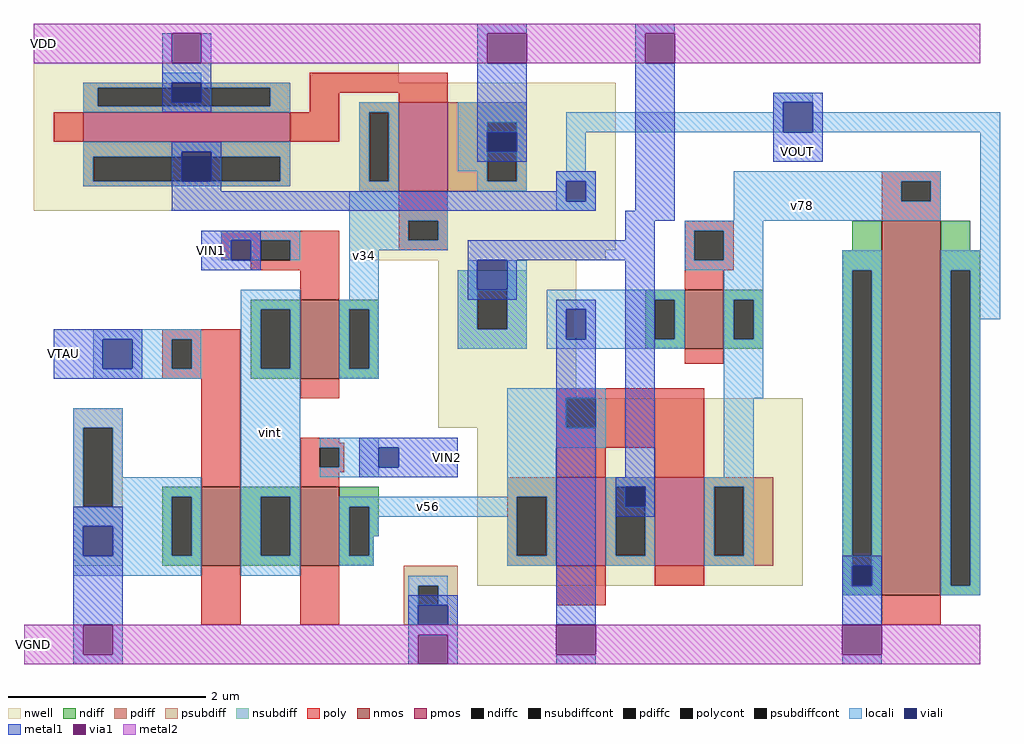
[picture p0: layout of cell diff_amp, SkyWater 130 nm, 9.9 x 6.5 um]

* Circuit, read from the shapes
.subckt diff_amp VTAU VGND VDD VIN2 VIN1 VOUT
XM1 vint VTAU VGND VGND sky130_fd_pr__nfet_01v8 w=0.8 l=0.4
XM2 v56 VIN2 vint VGND sky130_fd_pr__nfet_01v8 w=0.8 l=0.4
XM3 v34 VIN1 vint VGND sky130_fd_pr__nfet_01v8 w=0.8 l=0.4
XM4 v78 v78 VGND VGND sky130_fd_pr__nfet_01v8 w=0.6 l=0.4
XM5 VOUT v78 VGND VGND sky130_fd_pr__nfet_01v8 w=3.8 l=0.6
XM6 VDD v34 VOUT VDD sky130_fd_pr__pfet_01v8 w=2.1 l=0.3
XM7 VDD v34 v34 VDD sky130_fd_pr__pfet_01v8 w=0.9 l=0.5
XM8 VDD v56 v56 VDD sky130_fd_pr__pfet_01v8 w=0.9 l=0.5
XM9 v78 v56 VDD VDD sky130_fd_pr__pfet_01v8 w=0.9 l=0.5
.ends

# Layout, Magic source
magic
tech sky130A
<< nwell >>
rect 10 590 380 610
rect 10 460 600 590
rect 330 420 600 460
rect 330 410 590 420
rect 420 270 560 410
rect 420 240 790 270
rect 460 80 790 240
<< nmos >>
rect 280 290 320 370
rect 670 320 710 380
rect 180 100 220 180
rect 280 100 320 180
rect 870 70 930 450
<< pmos >>
rect 60 530 270 560
rect 380 480 430 570
rect 540 100 590 190
rect 640 100 690 190
<< ndiff >>
rect 840 420 870 450
rect 830 400 870 420
rect 230 360 280 370
rect 230 300 240 360
rect 270 300 280 360
rect 230 290 280 300
rect 320 360 360 370
rect 320 300 330 360
rect 350 300 360 360
rect 630 370 670 380
rect 630 330 640 370
rect 660 330 670 370
rect 630 320 670 330
rect 710 370 750 380
rect 710 330 720 370
rect 740 330 750 370
rect 710 320 750 330
rect 320 290 360 300
rect 140 170 180 180
rect 140 110 150 170
rect 170 110 180 170
rect 140 100 180 110
rect 220 170 280 180
rect 220 110 240 170
rect 270 110 280 170
rect 220 100 280 110
rect 320 160 360 180
rect 320 110 330 160
rect 350 130 360 160
rect 350 110 355 130
rect 320 100 355 110
rect 830 80 840 400
rect 860 80 870 400
rect 830 70 870 80
rect 930 420 960 450
rect 930 400 970 420
rect 930 80 940 400
rect 960 80 970 400
rect 930 70 970 80
<< pdiff >>
rect 60 585 270 590
rect 60 566 75 585
rect 250 566 270 585
rect 60 560 270 566
rect 340 560 380 570
rect 60 515 270 530
rect 60 490 70 515
rect 260 490 270 515
rect 60 485 270 490
rect 340 490 350 560
rect 370 490 380 560
rect 340 480 380 490
rect 430 550 510 570
rect 430 490 470 550
rect 500 490 510 550
rect 430 480 510 490
rect 490 170 540 190
rect 490 110 500 170
rect 530 110 540 170
rect 490 100 540 110
rect 590 180 640 190
rect 590 110 600 180
rect 630 110 640 180
rect 590 100 640 110
rect 690 180 760 190
rect 690 110 700 180
rect 730 110 760 180
rect 690 100 760 110
<< ndiffc >>
rect 240 300 270 360
rect 330 300 350 360
rect 640 330 660 370
rect 720 330 740 370
rect 150 110 170 170
rect 240 110 270 170
rect 330 110 350 160
rect 840 80 860 400
rect 940 80 960 400
<< pdiffc >>
rect 75 566 250 585
rect 70 490 260 515
rect 350 490 370 560
rect 470 490 500 550
rect 500 110 530 170
rect 600 110 630 180
rect 700 110 730 180
<< psubdiff >>
rect 50 240 100 260
rect 50 160 60 240
rect 90 160 100 240
rect 50 100 100 160
rect 385 80 440 100
rect 385 60 400 80
rect 420 60 440 80
rect 385 40 440 60
<< nsubdiff >>
rect 440 380 510 400
rect 440 340 460 380
rect 490 340 510 380
rect 440 320 510 340
<< psubdiffcont >>
rect 60 160 90 240
rect 400 60 420 80
<< nsubdiffcont >>
rect 460 340 490 380
<< poly >>
rect 290 580 430 600
rect 290 560 320 580
rect 380 570 430 580
rect 30 530 60 560
rect 270 530 320 560
rect 870 490 930 500
rect 380 450 430 480
rect 870 470 890 490
rect 920 470 930 490
rect 870 450 930 470
rect 200 430 320 440
rect 200 410 240 430
rect 270 410 320 430
rect 380 430 390 450
rect 420 430 430 450
rect 380 420 430 430
rect 670 440 720 450
rect 230 400 320 410
rect 670 410 680 440
rect 710 410 720 440
rect 670 400 720 410
rect 280 370 320 400
rect 670 380 710 400
rect 140 330 220 340
rect 140 300 150 330
rect 170 300 220 330
rect 140 290 220 300
rect 670 305 710 320
rect 180 180 220 290
rect 280 270 320 290
rect 540 270 690 280
rect 540 240 550 270
rect 580 240 690 270
rect 280 225 320 230
rect 280 220 325 225
rect 280 200 300 220
rect 320 200 325 220
rect 280 195 325 200
rect 540 220 690 240
rect 280 180 320 195
rect 540 190 590 220
rect 640 190 690 220
rect 180 40 220 100
rect 280 40 320 100
rect 540 60 590 100
rect 640 80 690 100
rect 870 40 930 70
<< polycont >>
rect 890 470 920 490
rect 240 410 270 430
rect 390 430 420 450
rect 680 410 710 440
rect 150 300 170 330
rect 550 240 580 270
rect 300 200 320 220
<< locali >>
rect 140 590 180 600
rect 60 585 150 590
rect 180 585 270 590
rect 60 566 75 585
rect 250 566 270 585
rect 760 570 800 580
rect 60 560 270 566
rect 340 560 380 570
rect 60 520 270 530
rect 60 515 160 520
rect 190 515 270 520
rect 60 490 70 515
rect 260 490 270 515
rect 60 485 270 490
rect 340 490 350 560
rect 370 490 380 560
rect 440 550 510 570
rect 760 560 770 570
rect 440 500 470 550
rect 340 480 380 490
rect 460 490 470 500
rect 500 490 510 550
rect 550 540 770 560
rect 800 540 990 560
rect 550 500 570 540
rect 460 480 510 490
rect 540 490 580 500
rect 330 450 430 480
rect 540 470 550 490
rect 570 470 580 490
rect 540 460 580 470
rect 720 490 930 500
rect 720 470 890 490
rect 920 470 930 490
rect 720 450 930 470
rect 200 430 280 440
rect 200 410 210 430
rect 230 410 240 430
rect 270 410 280 430
rect 330 430 390 450
rect 420 430 430 450
rect 330 420 430 430
rect 670 440 750 450
rect 220 360 280 380
rect 330 370 360 420
rect 670 410 680 440
rect 710 410 750 440
rect 970 420 990 540
rect 450 400 460 410
rect 70 330 180 340
rect 70 300 80 330
rect 110 300 150 330
rect 170 300 180 330
rect 70 290 180 300
rect 220 300 240 360
rect 270 300 280 360
rect 50 240 100 260
rect 50 160 60 240
rect 90 190 100 240
rect 90 170 180 190
rect 90 160 150 170
rect 50 140 150 160
rect 50 110 60 140
rect 90 110 150 140
rect 170 110 180 170
rect 50 90 180 110
rect 220 170 280 300
rect 320 360 360 370
rect 320 300 330 360
rect 350 300 360 360
rect 440 340 460 400
rect 490 340 510 410
rect 670 400 750 410
rect 440 320 510 340
rect 530 370 670 380
rect 530 360 640 370
rect 530 330 550 360
rect 570 330 640 360
rect 660 330 670 370
rect 530 320 670 330
rect 710 370 750 400
rect 710 330 720 370
rect 740 330 750 370
rect 320 290 360 300
rect 490 270 590 280
rect 490 240 550 270
rect 580 240 590 270
rect 300 220 360 230
rect 490 220 590 240
rect 710 270 750 330
rect 830 400 870 420
rect 320 200 360 220
rect 300 190 360 200
rect 490 170 540 220
rect 710 190 740 270
rect 220 110 240 170
rect 270 110 280 170
rect 220 90 280 110
rect 320 160 500 170
rect 320 110 330 160
rect 350 150 500 160
rect 350 130 360 150
rect 350 110 355 130
rect 320 100 355 110
rect 490 110 500 150
rect 530 110 540 170
rect 490 100 540 110
rect 590 180 640 190
rect 590 110 600 180
rect 630 110 640 180
rect 590 100 640 110
rect 690 180 740 190
rect 690 110 700 180
rect 730 110 740 180
rect 690 100 740 110
rect 390 80 430 90
rect 390 40 400 80
rect 420 60 430 80
rect 830 80 840 400
rect 860 80 870 400
rect 830 70 870 80
rect 930 400 990 420
rect 930 80 940 400
rect 960 350 990 400
rect 960 80 970 350
rect 930 70 970 80
<< viali >>
rect 150 585 180 590
rect 150 570 180 585
rect 160 515 190 520
rect 160 490 190 515
rect 470 520 500 540
rect 770 540 800 570
rect 550 470 570 490
rect 210 410 230 430
rect 80 300 110 330
rect 60 110 90 140
rect 460 380 490 410
rect 550 330 570 360
rect 360 200 380 220
rect 610 160 630 180
rect 840 80 860 100
rect 400 40 430 60
<< metal1 >>
rect 460 640 510 650
rect 140 610 150 640
rect 180 610 190 640
rect 140 590 190 610
rect 140 570 150 590
rect 180 570 190 590
rect 140 560 190 570
rect 460 610 470 640
rect 460 540 510 610
rect 150 520 200 530
rect 150 490 160 520
rect 190 490 200 520
rect 460 520 470 540
rect 500 520 510 540
rect 460 510 510 520
rect 620 640 660 650
rect 620 610 630 640
rect 150 480 200 490
rect 540 490 580 500
rect 540 480 550 490
rect 150 470 550 480
rect 570 470 580 490
rect 150 460 580 470
rect 620 460 660 610
rect 760 570 810 580
rect 760 540 770 570
rect 800 540 810 570
rect 760 510 810 540
rect 610 450 660 460
rect 180 430 240 440
rect 610 430 640 450
rect 180 410 210 430
rect 230 410 240 430
rect 180 400 240 410
rect 450 410 640 430
rect 450 380 460 410
rect 490 380 500 410
rect 450 370 500 380
rect 540 360 580 370
rect 30 330 120 340
rect 30 300 80 330
rect 110 300 120 330
rect 30 290 120 300
rect 540 330 550 360
rect 570 330 580 360
rect 340 220 440 230
rect 340 200 360 220
rect 380 200 440 220
rect 340 190 440 200
rect 50 140 100 160
rect 50 110 60 140
rect 90 110 100 140
rect 50 40 100 110
rect 50 10 60 40
rect 90 10 100 40
rect 50 0 100 10
rect 390 60 440 70
rect 390 40 400 60
rect 430 40 440 60
rect 390 30 440 40
rect 390 0 400 30
rect 430 0 440 30
rect 540 40 580 330
rect 610 190 640 410
rect 600 180 640 190
rect 600 160 610 180
rect 630 160 640 180
rect 600 150 640 160
rect 540 0 580 10
rect 830 100 870 110
rect 830 80 840 100
rect 860 80 870 100
rect 830 40 870 80
rect 830 0 870 10
<< via1 >>
rect 150 610 180 640
rect 470 610 510 640
rect 630 610 660 640
rect 60 10 90 40
rect 400 0 430 30
rect 540 10 580 40
rect 830 10 870 40
<< metal2 >>
rect 10 640 970 650
rect 10 610 150 640
rect 180 610 470 640
rect 510 610 630 640
rect 660 610 970 640
rect 0 10 60 40
rect 90 30 540 40
rect 90 10 400 30
rect 0 0 400 10
rect 430 10 540 30
rect 580 10 830 40
rect 870 10 970 40
rect 430 0 970 10
<< labels >>
rlabel metal1 30 290 50 340 1 VTAU
port 1 n
rlabel metal2 0 0 20 40 1 VGND
port 2 n
rlabel metal2 10 610 30 650 1 VDD
port 3 n
rlabel metal1 420 190 440 230 1 VIN2
port 5 n
rlabel metal1 180 400 200 440 1 VIN1
port 6 n
rlabel metal1 760 510 810 530 1 VOUT
port 7 n
rlabel locali 330 390 360 440 1 v34
rlabel locali 230 200 270 270 1 vint
rlabel locali 370 150 450 170 1 v56
rlabel locali 760 450 820 480 1 v78
<< end >>
